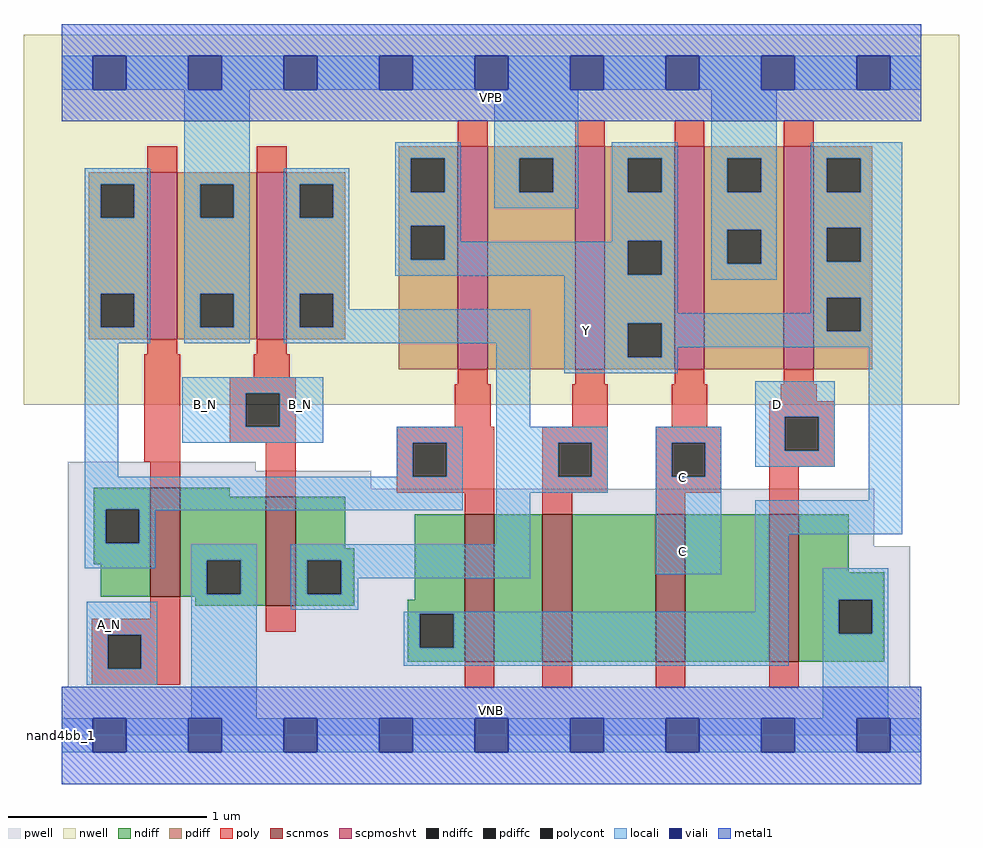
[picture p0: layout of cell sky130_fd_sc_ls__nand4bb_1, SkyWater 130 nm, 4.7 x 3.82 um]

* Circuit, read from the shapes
.subckt sky130_fd_sc_ls__nand4bb_1 A_N B_N C D VGND VNB VPB VPWR Y
XM1 VGND A_N n1 VNB sky130_fd_pr__nfet_01v8 w=0.55 l=0.15
XM2 n2 B_N VGND VNB sky130_fd_pr__nfet_01v8 w=0.55 l=0.15
XM3 n3 n1 Y VNB sky130_fd_pr__nfet_01v8 w=0.74 l=0.15
XM4 n4 n2 n3 VNB sky130_fd_pr__nfet_01v8 w=0.74 l=0.15
XM5 n5 C n4 VNB sky130_fd_pr__nfet_01v8 w=0.74 l=0.15
XM6 VGND D n5 VNB sky130_fd_pr__nfet_01v8 w=0.74 l=0.15
XM7 VPWR A_N n1 VPB sky130_fd_pr__pfet_01v8_hvt w=0.84 l=0.15
XM8 n2 B_N VPWR VPB sky130_fd_pr__pfet_01v8_hvt w=0.84 l=0.15
XM9 VPWR n1 Y VPB sky130_fd_pr__pfet_01v8_hvt w=1.12 l=0.15
XM10 Y n2 VPWR VPB sky130_fd_pr__pfet_01v8_hvt w=1.12 l=0.15
XM11 VPWR C Y VPB sky130_fd_pr__pfet_01v8_hvt w=1.12 l=0.15
XM12 Y D VPWR VPB sky130_fd_pr__pfet_01v8_hvt w=1.12 l=0.15
.ends

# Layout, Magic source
magic
tech sky130A
magscale 1 2
<< nwell >>
rect -38 332 902 704
<< pwell >>
rect 6 266 195 275
rect 6 248 311 266
rect 6 190 817 248
rect 6 49 853 190
rect 0 0 864 49
<< scnmos >>
rect 89 139 119 249
rect 205 130 235 240
rect 405 74 435 222
rect 483 74 513 222
rect 597 74 627 222
rect 711 74 741 222
<< scpmoshvt >>
rect 86 398 116 566
rect 196 398 226 566
rect 398 368 428 592
rect 516 368 546 592
rect 616 368 646 592
rect 726 368 756 592
<< ndiff >>
rect 32 227 89 249
rect 32 193 44 227
rect 78 193 89 227
rect 32 172 89 193
rect 39 139 89 172
rect 119 240 169 249
rect 119 176 205 240
rect 119 142 146 176
rect 180 142 205 176
rect 119 139 205 142
rect 134 130 205 139
rect 235 188 285 240
rect 235 176 294 188
rect 235 142 247 176
rect 281 142 294 176
rect 235 130 294 142
rect 355 136 405 222
rect 348 122 405 136
rect 348 88 360 122
rect 394 88 405 122
rect 348 74 405 88
rect 435 74 483 222
rect 513 74 597 222
rect 627 74 711 222
rect 741 164 791 222
rect 741 136 827 164
rect 741 102 781 136
rect 815 102 827 136
rect 741 74 827 102
<< pdiff >>
rect 339 580 398 592
rect 27 554 86 566
rect 27 520 39 554
rect 73 520 86 554
rect 27 444 86 520
rect 27 410 39 444
rect 73 410 86 444
rect 27 398 86 410
rect 116 554 196 566
rect 116 520 139 554
rect 173 520 196 554
rect 116 444 196 520
rect 116 410 139 444
rect 173 410 196 444
rect 116 398 196 410
rect 226 554 285 566
rect 226 520 239 554
rect 273 520 285 554
rect 226 444 285 520
rect 226 410 239 444
rect 273 410 285 444
rect 226 398 285 410
rect 339 546 351 580
rect 385 546 398 580
rect 339 512 398 546
rect 339 478 351 512
rect 385 478 398 512
rect 339 368 398 478
rect 428 580 516 592
rect 428 546 460 580
rect 494 546 516 580
rect 428 368 516 546
rect 546 580 616 592
rect 546 546 569 580
rect 603 546 616 580
rect 546 497 616 546
rect 546 463 569 497
rect 603 463 616 497
rect 546 414 616 463
rect 546 380 569 414
rect 603 380 616 414
rect 546 368 616 380
rect 646 580 726 592
rect 646 546 669 580
rect 703 546 726 580
rect 646 508 726 546
rect 646 474 669 508
rect 703 474 726 508
rect 646 368 726 474
rect 756 580 815 592
rect 756 546 769 580
rect 803 546 815 580
rect 756 510 815 546
rect 756 476 769 510
rect 803 476 815 510
rect 756 440 815 476
rect 756 406 769 440
rect 803 406 815 440
rect 756 368 815 406
<< ndiffc >>
rect 44 193 78 227
rect 146 142 180 176
rect 247 142 281 176
rect 360 88 394 122
rect 781 102 815 136
<< pdiffc >>
rect 39 520 73 554
rect 39 410 73 444
rect 139 520 173 554
rect 139 410 173 444
rect 239 520 273 554
rect 239 410 273 444
rect 351 546 385 580
rect 351 478 385 512
rect 460 546 494 580
rect 569 546 603 580
rect 569 463 603 497
rect 569 380 603 414
rect 669 546 703 580
rect 669 474 703 508
rect 769 546 803 580
rect 769 476 803 510
rect 769 406 803 440
<< poly >>
rect 398 592 428 618
rect 516 592 546 618
rect 616 592 646 618
rect 726 592 756 618
rect 86 566 116 592
rect 196 566 226 592
rect 86 383 116 398
rect 196 383 226 398
rect 83 275 119 383
rect 193 360 229 383
rect 169 344 235 360
rect 398 353 428 368
rect 516 353 546 368
rect 616 353 646 368
rect 726 353 756 368
rect 169 310 185 344
rect 219 310 235 344
rect 395 310 431 353
rect 513 310 549 353
rect 613 310 649 353
rect 723 336 759 353
rect 711 320 777 336
rect 169 294 235 310
rect 89 249 119 275
rect 205 240 235 294
rect 337 294 435 310
rect 337 260 353 294
rect 387 260 435 294
rect 337 244 435 260
rect 89 117 119 139
rect 405 222 435 244
rect 483 294 549 310
rect 483 260 499 294
rect 533 260 549 294
rect 483 244 549 260
rect 597 294 663 310
rect 597 260 613 294
rect 647 260 663 294
rect 597 244 663 260
rect 711 286 727 320
rect 761 286 777 320
rect 711 270 777 286
rect 483 222 513 244
rect 597 222 627 244
rect 711 222 741 270
rect 30 101 119 117
rect 205 104 235 130
rect 30 67 46 101
rect 80 67 119 101
rect 30 51 119 67
rect 405 48 435 74
rect 483 48 513 74
rect 597 48 627 74
rect 711 48 741 74
<< polycont >>
rect 185 310 219 344
rect 353 260 387 294
rect 499 260 533 294
rect 613 260 647 294
rect 727 286 761 320
rect 46 67 80 101
<< locali >>
rect 0 649 31 683
rect 65 649 127 683
rect 161 649 223 683
rect 257 649 319 683
rect 353 649 415 683
rect 449 649 511 683
rect 545 649 607 683
rect 641 649 703 683
rect 737 649 799 683
rect 833 649 864 683
rect 23 554 89 570
rect 23 520 39 554
rect 73 520 89 554
rect 23 444 89 520
rect 23 410 39 444
rect 73 410 89 444
rect 23 394 89 410
rect 123 554 189 649
rect 335 580 401 596
rect 123 520 139 554
rect 173 520 189 554
rect 123 444 189 520
rect 123 410 139 444
rect 173 410 189 444
rect 123 394 189 410
rect 223 554 289 570
rect 223 520 239 554
rect 273 520 289 554
rect 223 444 289 520
rect 335 546 351 580
rect 385 546 401 580
rect 335 512 401 546
rect 435 580 519 649
rect 435 546 460 580
rect 494 546 519 580
rect 435 530 519 546
rect 553 580 619 596
rect 553 546 569 580
rect 603 546 619 580
rect 335 478 351 512
rect 385 496 401 512
rect 553 497 619 546
rect 553 496 569 497
rect 385 478 569 496
rect 335 463 569 478
rect 603 463 619 497
rect 335 462 619 463
rect 223 410 239 444
rect 273 428 289 444
rect 273 410 471 428
rect 223 394 471 410
rect 23 260 57 394
rect 121 344 263 360
rect 121 310 185 344
rect 219 310 263 344
rect 437 310 471 394
rect 505 424 619 462
rect 653 580 719 649
rect 653 546 669 580
rect 703 546 719 580
rect 653 508 719 546
rect 653 474 669 508
rect 703 474 719 508
rect 653 458 719 474
rect 753 580 845 596
rect 753 546 769 580
rect 803 546 845 580
rect 753 510 845 546
rect 753 476 769 510
rect 803 476 845 510
rect 753 440 845 476
rect 753 424 769 440
rect 505 414 769 424
rect 505 380 569 414
rect 603 406 769 414
rect 803 406 845 440
rect 603 390 845 406
rect 603 380 619 390
rect 505 364 619 380
rect 697 320 777 356
rect 121 294 263 310
rect 337 294 403 310
rect 337 260 353 294
rect 387 260 403 294
rect 23 227 403 260
rect 23 193 44 227
rect 78 226 403 227
rect 437 294 549 310
rect 437 260 499 294
rect 533 260 549 294
rect 437 244 549 260
rect 597 294 663 310
rect 597 260 613 294
rect 647 260 663 294
rect 697 286 727 320
rect 761 286 777 320
rect 697 270 777 286
rect 78 193 94 226
rect 23 168 94 193
rect 437 192 471 244
rect 130 176 196 192
rect 130 142 146 176
rect 180 142 196 176
rect 25 101 96 134
rect 25 67 46 101
rect 80 67 96 101
rect 25 51 96 67
rect 130 17 196 142
rect 230 176 471 192
rect 230 142 247 176
rect 281 158 471 176
rect 597 162 663 260
rect 811 236 845 390
rect 697 202 845 236
rect 281 142 298 158
rect 230 126 298 142
rect 697 124 731 202
rect 344 122 731 124
rect 344 88 360 122
rect 394 88 731 122
rect 344 70 731 88
rect 765 136 831 168
rect 765 102 781 136
rect 815 102 831 136
rect 765 17 831 102
rect 0 -17 31 17
rect 65 -17 127 17
rect 161 -17 223 17
rect 257 -17 319 17
rect 353 -17 415 17
rect 449 -17 511 17
rect 545 -17 607 17
rect 641 -17 703 17
rect 737 -17 799 17
rect 833 -17 864 17
<< viali >>
rect 31 649 65 683
rect 127 649 161 683
rect 223 649 257 683
rect 319 649 353 683
rect 415 649 449 683
rect 511 649 545 683
rect 607 649 641 683
rect 703 649 737 683
rect 799 649 833 683
rect 31 -17 65 17
rect 127 -17 161 17
rect 223 -17 257 17
rect 319 -17 353 17
rect 415 -17 449 17
rect 511 -17 545 17
rect 607 -17 641 17
rect 703 -17 737 17
rect 799 -17 833 17
<< metal1 >>
rect 0 683 864 715
rect 0 649 31 683
rect 65 649 127 683
rect 161 649 223 683
rect 257 649 319 683
rect 353 649 415 683
rect 449 649 511 683
rect 545 649 607 683
rect 641 649 703 683
rect 737 649 799 683
rect 833 649 864 683
rect 0 617 864 649
rect 0 17 864 49
rect 0 -17 31 17
rect 65 -17 127 17
rect 161 -17 223 17
rect 257 -17 319 17
rect 353 -17 415 17
rect 449 -17 511 17
rect 545 -17 607 17
rect 641 -17 703 17
rect 737 -17 799 17
rect 833 -17 864 17
rect 0 -49 864 -17
<< labels >>
rlabel comment s 0 0 0 0 4 nand4bb_1
flabel pwell s 0 0 864 49 0 FreeSans 200 0 0 0 VNB
port 6 nsew ground bidirectional
flabel nwell s 0 617 864 666 0 FreeSans 200 0 0 0 VPB
port 7 nsew power bidirectional
flabel metal1 s 0 617 864 666 0 FreeSans 340 0 0 0 VPWR
port 8 nsew power bidirectional abutment
flabel metal1 s 0 0 864 49 0 FreeSans 340 0 0 0 VGND
port 5 nsew ground bidirectional abutment
flabel locali s 127 316 161 350 0 FreeSans 340 0 0 0 B_N
port 2 nsew signal input
flabel locali s 223 316 257 350 0 FreeSans 340 0 0 0 B_N
port 2 nsew signal input
flabel locali s 31 94 65 128 0 FreeSans 340 0 0 0 A_N
port 1 nsew signal input
flabel locali s 703 316 737 350 0 FreeSans 340 0 0 0 D
port 4 nsew signal input
flabel locali s 511 390 545 424 0 FreeSans 340 0 0 0 Y
port 9 nsew signal output
flabel locali s 607 168 641 202 0 FreeSans 340 0 0 0 C
port 3 nsew signal input
flabel locali s 607 242 641 276 0 FreeSans 340 0 0 0 C
port 3 nsew signal input
<< properties >>
string LEFsite unit
string LEFclass CORE
string FIXED_BBOX 0 0 864 666
string GDS_FILE $PDKPATH/libs.ref/sky130_fd_sc_ls/gds/sky130_fd_sc_ls.gds
string LEFsymmetry X Y
string GDS_END 3632874
string GDS_START 3625394
<< end >>
